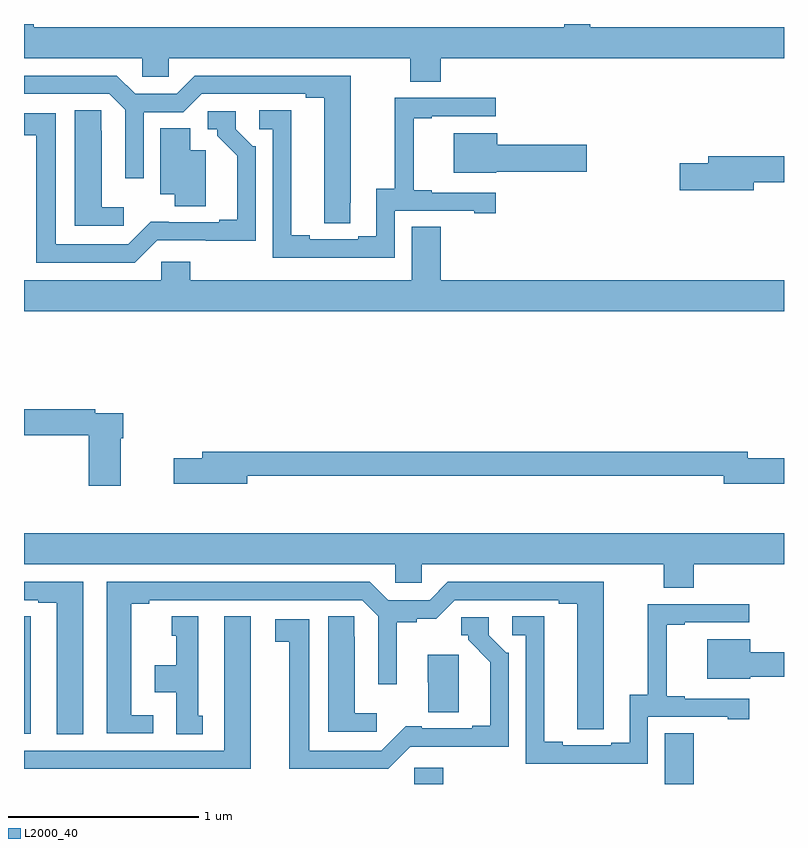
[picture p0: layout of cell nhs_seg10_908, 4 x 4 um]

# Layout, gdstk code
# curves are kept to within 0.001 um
import gdstk
lib = gdstk.Library(unit=1e-6, precision=1e-09)
def R(c, l, rs):  # rectangles x0, y0, x1, y1
    for r in rs: c.add(gdstk.rectangle(r[:2], r[2:], *l))
def P(c, l, *ps):  # polygons
    for p in ps: c.add(gdstk.Polygon(p, *l))
L2000_40 = (2000, 40)

nhs_seg10_908 = lib.new_cell('nhs_seg10_908')
R(nhs_seg10_908, L2000_40, [(159.054,1292.5,159.206,1292.586), (160.373,1292.5,160.526,1292.768)])
P(nhs_seg10_908, L2000_40, [(159.194,1296.32),(161,1296.32),(161,1296.484),(159.981,1296.484),(159.981,1296.5),(159.843,1296.5),(159.843,1296.484),(157.052,1296.484),(157.052,1296.5),(157,1296.5),(157,1296.32),(157.623,1296.32),(157.623,1296.222),(157.761,1296.222),(157.761,1296.32),(159.034,1296.32),(159.034,1296.196),(159.194,1296.196)],
  [(158.718,1295.56),(158.719,1296.228),(157.899,1296.228),(157.803,1296.132),(157.585,1296.132),(157.489,1296.228),(157,1296.228),(157,1296.132),(157.449,1296.132),(157.533,1296.048),(157.533,1295.688),(157.629,1295.688),(157.629,1296.036),(157.839,1296.036),(157.935,1296.132),(158.483,1296.132),(158.483,1296.112),(158.579,1296.112),(158.579,1295.452),(158.718,1295.452)],
  [(158.952,1295.517),(159.371,1295.517),(159.371,1295.505),(159.484,1295.505),(159.484,1295.613),(159.145,1295.613),(159.145,1295.626),(159.05,1295.626),(159.05,1296.003),(159.145,1296.003),(159.145,1296.015),(159.484,1296.015),(159.484,1296.111),(158.95,1296.111),(158.95,1295.633),(158.855,1295.633),(158.855,1295.382),(158.759,1295.382),(158.759,1295.367),(158.503,1295.367),(158.503,1295.387),(158.407,1295.387),(158.407,1296.047),(158.238,1296.047),(158.238,1295.946),(158.31,1295.946),(158.31,1295.271),(158.952,1295.271)],
  [(157.525,1295.536),(157.408,1295.536),(157.408,1295.939),(157.407,1295.939),(157.407,1296.047),(157.268,1296.047),(157.268,1295.439),(157.525,1295.439)],
  [(157.701,1295.361),(158.22,1295.36),(158.22,1295.856),(158.205,1295.856),(158.115,1295.946),(158.115,1296.042),(157.968,1296.042),(157.968,1295.946),(158.018,1295.946),(158.018,1295.911),(158.123,1295.806),(158.123,1295.47),(158.027,1295.47),(158.027,1295.457),(157.666,1295.458),(157.548,1295.34),(157.168,1295.34),(157.168,1296.03),(157,1296.03),(157,1295.914),(157.064,1295.914),(157.064,1295.244),(157.584,1295.244)],
  [(157.957,1295.836),(157.876,1295.836),(157.876,1295.951),(157.718,1295.951),(157.718,1295.603),(157.793,1295.603),(157.793,1295.542),(157.957,1295.542)],
  [(159.486,1295.723),(159.961,1295.723),(159.961,1295.865),(159.49,1295.865),(159.49,1295.926),(159.263,1295.926),(159.263,1295.717),(159.486,1295.717)],
  [(160.84,1295.668),(161,1295.668),(161,1295.804),(160.601,1295.804),(160.601,1295.768),(160.452,1295.768),(160.452,1295.626),(160.84,1295.626)],
  [(161,1295.152),(159.194,1295.152),(159.194,1295.432),(159.041,1295.432),(159.041,1295.152),(157.874,1295.152),(157.874,1295.25),(157.722,1295.25),(157.722,1295.152),(157,1295.152),(157,1294.988),(161,1294.988)],
  [(157.51,1294.319),(157.523,1294.319),(157.523,1294.452),(157.376,1294.452),(157.376,1294.472),(157,1294.472),(157,1294.336),(157.34,1294.336),(157.34,1294.071),(157.51,1294.071)],
  [(158.176,1294.122),(160.682,1294.122),(160.682,1294.079),(161,1294.079),(161,1294.214),(160.81,1294.214),(160.81,1294.25),(157.937,1294.25),(157.937,1294.214),(157.788,1294.214),(157.788,1294.079),(158.176,1294.079)],
  [(160.526,1293.656),(161,1293.656),(161,1293.82),(157,1293.82),(157,1293.656),(158.955,1293.656),(158.955,1293.558),(159.093,1293.558),(159.093,1293.656),(160.366,1293.656),(160.366,1293.532),(160.526,1293.532)],
  [(157.681,1292.862),(157.564,1292.862),(157.564,1293.448),(157.66,1293.448),(157.66,1293.468),(158.781,1293.468),(158.865,1293.384),(158.865,1293.024),(158.962,1293.024),(158.962,1293.352),(159.066,1293.352),(159.066,1293.371),(159.17,1293.371),(159.267,1293.468),(159.815,1293.468),(159.815,1293.448),(159.911,1293.448),(159.911,1292.788),(160.05,1292.788),(160.051,1293.564),(159.231,1293.564),(159.135,1293.468),(158.917,1293.468),(158.821,1293.564),(157.436,1293.564),(157.436,1292.766),(157.681,1292.766)],
  [(157.312,1293.564),(157,1293.564),(157,1293.468),(157.076,1293.468),(157.076,1293.453),(157.172,1293.453),(157.172,1292.761),(157.312,1292.761)],
  [(160.284,1292.853),(160.703,1292.853),(160.703,1292.841),(160.816,1292.841),(160.816,1292.949),(160.477,1292.949),(160.477,1292.962),(160.382,1292.962),(160.382,1293.339),(160.477,1293.339),(160.477,1293.351),(160.816,1293.351),(160.816,1293.447),(160.282,1293.447),(160.282,1292.969),(160.187,1292.969),(160.187,1292.718),(160.091,1292.718),(160.091,1292.703),(159.835,1292.703),(159.835,1292.723),(159.739,1292.723),(159.739,1293.383),(159.57,1293.383),(159.57,1293.282),(159.642,1293.282),(159.642,1292.607),(160.284,1292.607)],
  [(157.036,1293.275),(157.035,1293.275),(157.035,1293.383),(157,1293.383),(157,1292.765),(157.036,1292.765)],
  [(158.857,1292.872),(158.74,1292.872),(158.74,1293.275),(158.739,1293.275),(158.739,1293.383),(158.6,1293.383),(158.6,1292.775),(158.857,1292.775)],
  [(157.942,1292.859),(157.918,1292.859),(157.918,1293.382),(157.778,1293.382),(157.778,1293.279),(157.802,1293.279),(157.802,1293.124),(157.688,1293.124),(157.688,1292.984),(157.802,1292.984),(157.802,1292.761),(157.942,1292.761)],
  [(158.194,1293.382),(158.054,1293.382),(158.054,1292.676),(157,1292.676),(157,1292.58),(158.194,1292.58)],
  [(159.033,1292.697),(159.552,1292.696),(159.552,1293.192),(159.537,1293.192),(159.447,1293.282),(159.447,1293.378),(159.3,1293.378),(159.3,1293.282),(159.339,1293.282),(159.339,1293.259),(159.455,1293.142),(159.455,1292.806),(159.359,1292.806),(159.359,1292.793),(159.094,1292.793),(159.094,1292.804),(159.008,1292.804),(158.88,1292.676),(158.5,1292.676),(158.5,1293.366),(158.322,1293.366),(158.322,1293.25),(158.396,1293.25),(158.396,1292.58),(158.916,1292.58)],
  [(160.822,1293.064),(161,1293.064),(161,1293.193),(160.822,1293.193),(160.822,1293.262),(160.595,1293.262),(160.595,1293.053),(160.822,1293.053)],
  [(159.289,1293.181),(159.125,1293.181),(159.125,1293.036),(159.127,1293.036),(159.127,1292.878),(159.289,1292.878)])

lib.write_gds('nhs_seg10_908.gds')
